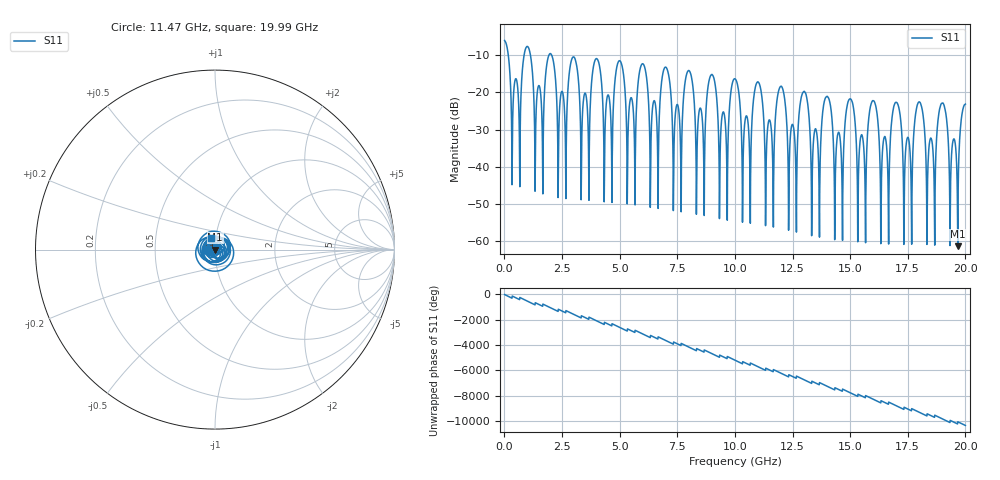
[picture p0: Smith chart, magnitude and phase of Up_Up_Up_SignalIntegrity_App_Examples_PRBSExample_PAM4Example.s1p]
! File created by SignalIntegrity v1.1.4: Signal and Power Integrity Tools
! https://github.com/TeledyneLeCroy/SignalIntegrity
# MHz MA S R 50.0
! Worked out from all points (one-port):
!   2000 points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, 10 MHz to 20 GHz, reference 50 ohm
!   lowest |S11| = -61.4 dB at 19.67 GHz (marker M1), VSWR 1.00, Z = 50.1 + j0.0461 ohm
!   |S11| at or under -10 dB: 169.6 MHz to 854.9 MHz (685.3 MHz wide, 134 % of centre); 1.131 GHz to 1.932 GHz (800.9 MHz wide, 52.3 % of centre); 2.051 GHz to end of sweep
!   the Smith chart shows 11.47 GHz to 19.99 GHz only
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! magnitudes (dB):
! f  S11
! 10 MHz  -6.1
! 350 MHz  -31.2
! 990 MHz  -7.7
! 1.35 GHz  -33.0
! 2.51 GHz  -19.8
! 4.01 GHz  -11.0
! 4.65 GHz  -35.9
! 5.01 GHz  -11.5
! 5.35 GHz  -36.4
! 5.99 GHz  -12.3
! 7.51 GHz  -23.3
! 9.01 GHz  -15.2
! 9.65 GHz  -40.7
! 10.01 GHz  -16.4
! 10.35 GHz  -41.3
! 10.99 GHz  -17.2
! 12.51 GHz  -28.7
! 13.65 GHz  -45.2
! 14.01 GHz  -21.1
! 14.65 GHz  -46.2
! 15.01 GHz  -21.8
! 15.35 GHz  -46.5
! 15.99 GHz  -22.2
! 16.35 GHz  -47.1
! 17.51 GHz  -32.1
! 19.01 GHz  -22.9
! 19.67 GHz  -61.4
! 20 GHz  -23.2
